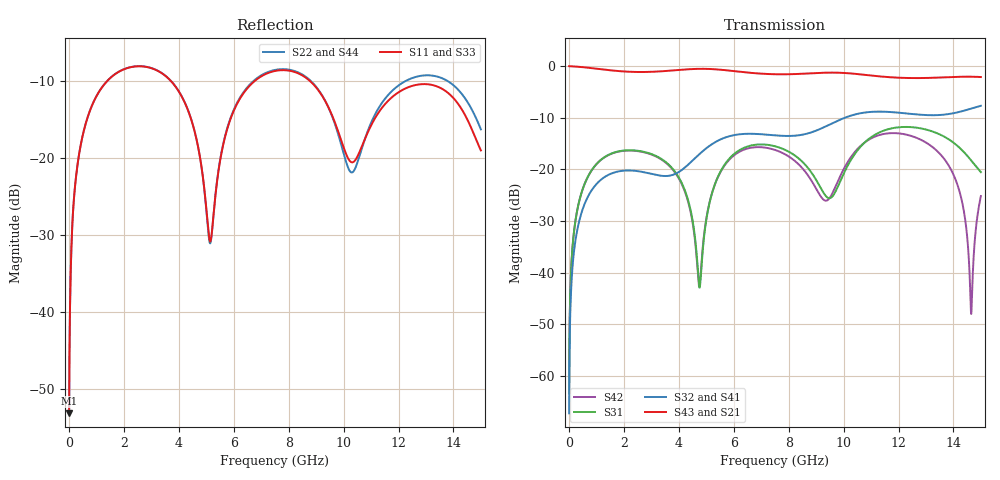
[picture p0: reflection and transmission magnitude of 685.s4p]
! Created with skrf 1.8.0 (http://scikit-rf.org).
# GHz S RI R 50.0
!freq ReS11 ImS11 ReS12 ImS12 ReS13 ImS13
! ReS14 ImS14
! ReS21 ImS21 ReS22 ImS22 ReS23 ImS23
! ReS24 ImS24
! ReS31 ImS31 ReS32 ImS32 ReS33 ImS33
! ReS34 ImS34
! ReS41 ImS41 ReS42 ImS42 ReS43 ImS43
! ReS44 ImS44
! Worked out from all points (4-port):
!   2499 points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, 5 MHz to 15 GHz, reference 50 ohm
!   strongest paths, dB at 5 MHz, 3.476 GHz, 7.19 GHz, 11.1 GHz, 15 GHz:
!     S43: 0.0, -1.0, -1.5, -1.9, -2.1
!     S21: 0.0, -1.0, -1.5, -1.9, -2.1
!     S32: -67.2, -21.3, -13.3, -8.8, -7.7
!     S41: -67.2, -21.3, -13.3, -8.9, -7.7
!     S31: -63.3, -18.4, -15.2, -13.4, -20.5
!     S42: -63.3, -18.5, -15.8, -13.7, -25.2
!   lowest |S11| = -53.2 dB at 5 MHz (marker M1), VSWR 1.00, Z = 50.2 + j0.133 ohm
!   |S11| at or under -10 dB: start of sweep to 1.392 GHz; 3.712 GHz to 6.763 GHz (3.051 GHz wide, 58.3 % of centre); 8.775 GHz to end of sweep
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0.005  0.00175 0.00133  0.9982 -0.0034  8.76e-05 0.000679  -8.51e-05 -0.000428
       0.9982 -0.0034  0.00175 0.00133  -8.51e-05 -0.000428  8.75e-05 0.000679
       8.76e-05 0.000679  -8.51e-05 -0.000428  0.00175 0.00133  0.9982 -0.0034
       -8.51e-05 -0.000428  8.75e-05 0.000679  0.9982 -0.0034  0.00175 0.00133
0.3126303  0.0267 0.0869  0.9635 -0.2108  0.0122 0.04  -0.0101 -0.0249
           0.9635 -0.2108  0.0267 0.0869  -0.0101 -0.0249  0.0121 0.0401
           0.0122 0.04  -0.0101 -0.0249  0.0267 0.0869  0.9635 -0.2108
           -0.0101 -0.0249  0.0121 0.0401  0.9635 -0.2108  0.0267 0.0869
1.569404  0.2934 0.1691  0.4975 -0.7581  0.1339 0.0512  -0.0918 0.00214
          0.4975 -0.7581  0.294 0.1686  -0.0918 0.0022  0.1321 0.0539
          0.1339 0.0512  -0.0918 0.0022  0.2933 0.1691  0.4975 -0.7581
          -0.0918 0.00214  0.1321 0.0539  0.4975 -0.7581  0.294 0.1686
4.75198  0.0503 -0.0931  -0.8933 -0.2949  -0.00714 -0.000739  -0.0406 0.1349
         -0.8933 -0.2949  0.0491 -0.0936  -0.0397 0.1351  -0.00739 0.000129
         -0.00714 -0.000739  -0.0397 0.1351  0.0511 -0.0931  -0.8932 -0.2952
         -0.0406 0.1349  -0.00739 0.000129  -0.8932 -0.2952  0.0484 -0.0941
7.865777  0.3715 -0.00908  -0.039 0.831  0.1253 -0.091  0.2057 -0.0456
          -0.039 0.831  0.3767 -0.0183  0.2056 -0.0474  0.1222 -0.0687
          0.1253 -0.091  0.2056 -0.0474  0.3687 -0.00992  -0.0393 0.8321
          0.2057 -0.0456  0.1222 -0.0687  -0.0393 0.8321  0.3743 -0.0172
10.64193  0.1098 0.0377  0.8283 -0.0547  0.0621 0.1568  -0.0433 -0.3478
          0.8283 -0.0547  0.1004 0.0492  -0.0467 -0.3477  0.0343 0.1676
          0.0621 0.1568  -0.0467 -0.3477  0.1087 0.0409  0.8282 -0.0553
          -0.0433 -0.3478  0.0343 0.1676  0.8282 -0.0553  0.1016 0.0536
15  0.1069 -0.0334  -0.6716 -0.4023  -0.0902 -0.0268  -0.2117 0.3561
    -0.6716 -0.4023  0.1139 -0.1027  -0.2029 0.3599  0.00214 0.0552
    -0.0902 -0.0268  -0.2029 0.3599  0.1141 -0.0233  -0.6721 -0.4023
    -0.2117 0.3561  0.00214 0.0552  -0.6721 -0.4023  0.1022 -0.102
